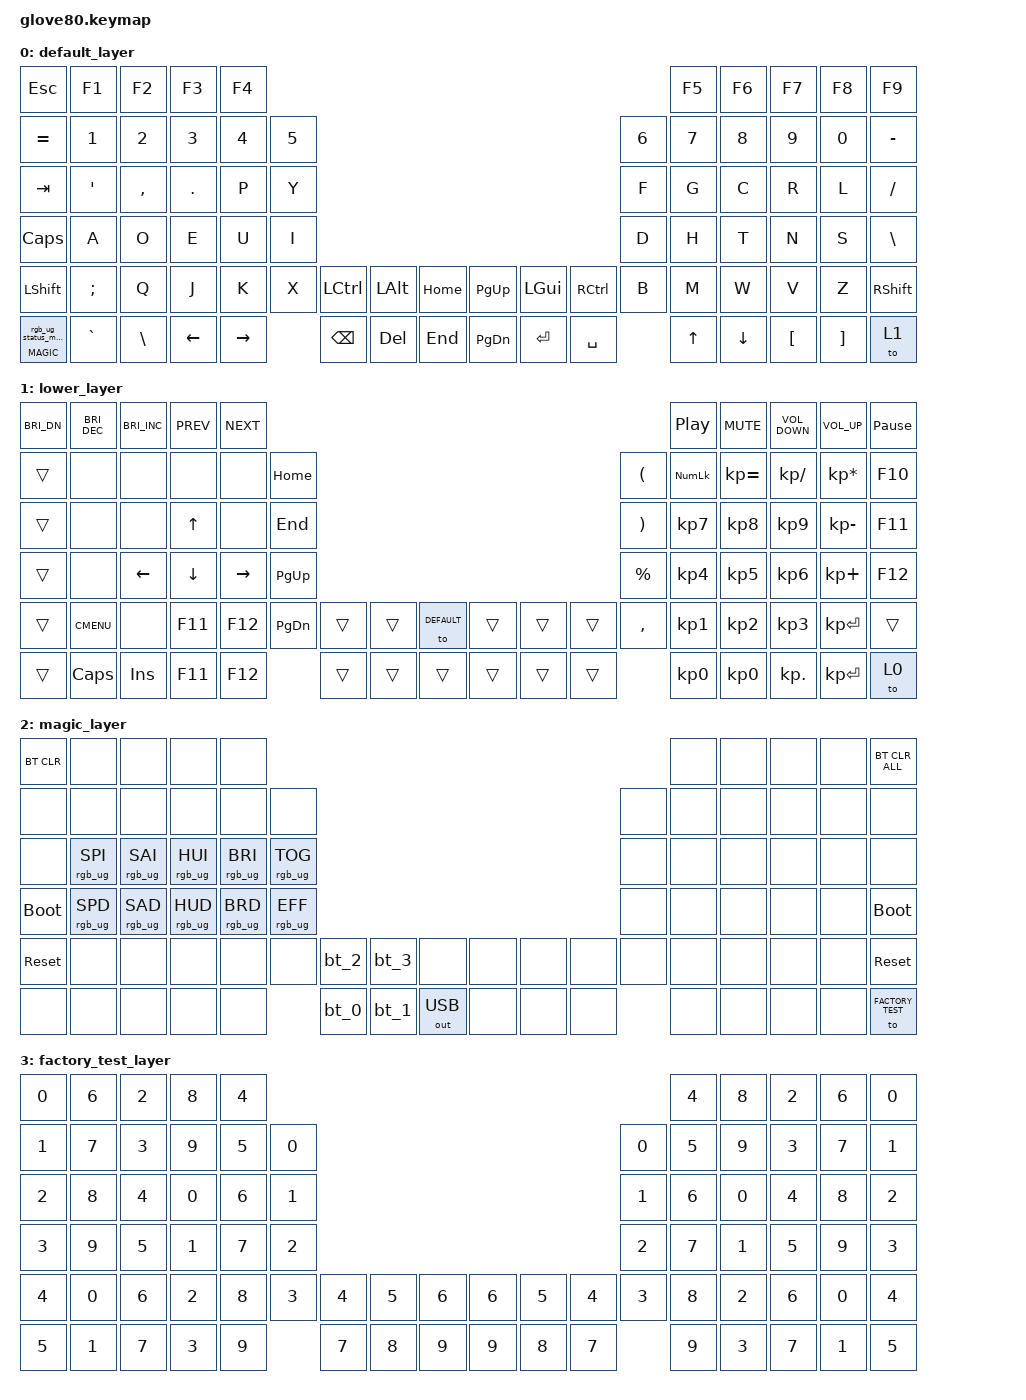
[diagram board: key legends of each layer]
/*
 * Copyright (c) 2020 The ZMK Contributors
 *
 * SPDX-License-Identifier: MIT
 */

#include <behaviors.dtsi>
#include <dt-bindings/zmk/bt.h>
#include <dt-bindings/zmk/keys.h>
#include <dt-bindings/zmk/outputs.h>
#include <dt-bindings/zmk/rgb.h>

#define HYPER LC(LS(LG(LALT)))

// layers

#define DEFAULT 0
#define LOWER 1
#define MAGIC 2
#define FACTORY_TEST 3

/ {
    behaviors {
        // For the "layer" key, it'd nice to be able to use it as either a shift or a toggle.
        // Configure it as a tap dance, so the first tap (or hold) is a &mo and the second tap is a &to

        layer_td: tap_dance_0 {
            compatible = "zmk,behavior-tap-dance";
            label = "LAYER_TAP_DANCE";
            #binding-cells = <0>;
            tapping-term-ms = <200>;
            bindings = <&mo LOWER>, <&to LOWER>;
        };

        magic: magic_hold_tap {
            compatible = "zmk,behavior-hold-tap";
            label = "MAGIC_HOLD_TAP";
            #binding-cells = <2>;
            flavor = "tap-preferred";
            tapping-term-ms = <200>;
            bindings = <&mo>, <&rgb_ug_status_macro>;
        };
    };

    macros {
        rgb_ug_status_macro: rgb_ug_status_macro_0 {
            label = "RGB_UG_STATUS";
            compatible = "zmk,behavior-macro";
            #binding-cells = <0>;
            bindings = <&rgb_ug RGB_STATUS>;
        };

        bt_0: bt_profile_macro_0 {
            label = "BT_0";
            compatible = "zmk,behavior-macro";
            #binding-cells = <0>;
            bindings = <&out OUT_BLE &bt BT_SEL 0>;
        };

        bt_1: bt_profile_macro_1 {
            label = "BT_1";
            compatible = "zmk,behavior-macro";
            #binding-cells = <0>;
            bindings = <&out OUT_BLE &bt BT_SEL 1>;
        };

        bt_2: bt_profile_macro_2 {
            label = "BT_2";
            compatible = "zmk,behavior-macro";
            #binding-cells = <0>;
            bindings = <&out OUT_BLE &bt BT_SEL 2>;
        };

        bt_3: bt_profile_macro_3 {
            label = "BT_3";
            compatible = "zmk,behavior-macro";
            #binding-cells = <0>;
            bindings = <&out OUT_BLE &bt BT_SEL 3>;
        };
    };

    keymap {
        compatible = "zmk,keymap";

        default_layer {
            // ---------------------------------------------------------------------------------------------------------------------------------
            // |  F1   |  F2 |  F3 |  F4  |  F5  |                                                               |  F6   |  F7   |  F8  |   F9  |  F10 |
            // |  =    |  1  |  2  |  3   |  4   |  5   |                                                 |  6   |   7   |   8   |  9   |   0   |   -  |
            // |  TAB  |  Q  |  W  |  E   |  R   |  T   |                                                 |  Y   |   U   |   I   |  O   |   P   |   \  |
            // |  ESC  |  A  |  S  |  D   |  F   |  G   |                                                 |  H   |   J   |   K   |  L   |   ;   |   '  |
            // |   `   |  Z  |  X  |  C   |  V   |  B   | LSHFT | LCTRL | LOWER | | LGUI  | RCTRL | RSHFT |  N   |   M   |   ,   |  .   |   /   | PGUP |
            // | MAGIC | HOME| END | LEFT | RIGHT|      | BSPC  | DEL   | LALT  | | RALT  | RET   | SPACE |      |  UP   | DOWN  |  [   |   ]   | PGDN |

            bindings = <
&kp ESC         &kp F1     &kp F2     &kp F3    &kp F4                                                                                          &kp F5  &kp F6    &kp F7    &kp F8    &kp F9
&kp EQUAL       &kp N1     &kp N2     &kp N3    &kp N4     &kp N5                                                                       &kp N6  &kp N7  &kp N8    &kp N9    &kp N0    &kp MINUS
&kp TAB         &kp APOS   &kp COMMA  &kp DOT   &kp P      &kp Y                                                                        &kp F   &kp G   &kp C     &kp R     &kp L     &kp FSLH
&kp CAPS        &kp A      &kp O      &kp E     &kp U      &kp I                                                                        &kp D   &kp H   &kp T     &kp N     &kp S     &kp BSLH
&kp LSHFT       &kp SEMI   &kp Q      &kp J     &kp K      &kp X   &kp LCTRL  &kp LALT  &kp HOME    &kp PAGE_UP    &kp LGUI  &kp RCTRL  &kp B   &kp M   &kp W     &kp V     &kp Z     &kp RSHFT
&magic MAGIC 0  &kp GRAVE  &kp BSLH   &kp LEFT  &kp RIGHT          &kp BSPC   &kp DEL   &kp END     &kp PAGE_DOWN  &kp RET   &kp SPACE          &kp UP  &kp DOWN  &kp LBKT  &kp RBKT  &to 1
            >;
        };

        lower_layer {
            bindings = <
&kp C_BRI_DN  &kp C_BRIGHTNESS_DEC  &kp C_BRIGHTNESS_INC  &kp C_PREV  &kp C_NEXT                                                                               &kp C_PLAY_PAUSE  &kp C_MUTE    &kp C_VOLUME_DOWN  &kp C_VOLUME_UP  &kp PAUSE_BREAK
&trans        &none                 &none                 &none       &none       &kp HOME                                                          &kp LPAR   &kp KP_NUM        &kp KP_EQUAL  &kp KP_DIVIDE      &kp KP_MULTIPLY  &kp F10
&trans        &none                 &none                 &kp UP      &none       &kp END                                                           &kp RPAR   &kp KP_N7         &kp KP_N8     &kp KP_N9          &kp KP_MINUS     &kp F11
&trans        &none                 &kp LEFT              &kp DOWN    &kp RIGHT   &kp PG_UP                                                         &kp PRCNT  &kp KP_N4         &kp KP_N5     &kp KP_N6          &kp KP_PLUS      &kp F12
&trans        &kp K_CMENU           &none                 &kp F11     &kp F12     &kp PG_DN  &trans  &trans  &to DEFAULT    &trans  &trans  &trans  &kp COMMA  &kp KP_N1         &kp KP_N2     &kp KP_N3          &kp KP_ENTER     &trans
&trans        &kp CAPS              &kp INS               &kp F11     &kp F12                &trans  &trans  &trans         &trans  &trans  &trans             &kp KP_N0         &kp KP_N0     &kp KP_DOT         &kp KP_ENTER     &to 0
            >;
        };

        magic_layer {
            bindings = <
&bt BT_CLR   &none            &none            &none            &none                                                                                       &none  &none  &none  &none  &bt BT_CLR_ALL
&none        &none            &none            &none            &none            &none                                                               &none  &none  &none  &none  &none  &none
&none        &rgb_ug RGB_SPI  &rgb_ug RGB_SAI  &rgb_ug RGB_HUI  &rgb_ug RGB_BRI  &rgb_ug RGB_TOG                                                     &none  &none  &none  &none  &none  &none
&bootloader  &rgb_ug RGB_SPD  &rgb_ug RGB_SAD  &rgb_ug RGB_HUD  &rgb_ug RGB_BRD  &rgb_ug RGB_EFF                                                     &none  &none  &none  &none  &none  &bootloader
&sys_reset   &none            &none            &none            &none            &none            &bt_2  &bt_3  &none           &none  &none  &none  &none  &none  &none  &none  &none  &sys_reset
&none        &none            &none            &none            &none                             &bt_0  &bt_1  &out OUT_USB    &none  &none  &none         &none  &none  &none  &none  &to FACTORY_TEST
            >;
        };

        factory_test_layer {
            bindings = <
&kp N0  &kp N6  &kp N2  &kp N8  &kp N4                                                                    &kp N4  &kp N8  &kp N2  &kp N6  &kp N0
&kp N1  &kp N7  &kp N3  &kp N9  &kp N5  &kp N0                                                    &kp N0  &kp N5  &kp N9  &kp N3  &kp N7  &kp N1
&kp N2  &kp N8  &kp N4  &kp N0  &kp N6  &kp N1                                                    &kp N1  &kp N6  &kp N0  &kp N4  &kp N8  &kp N2
&kp N3  &kp N9  &kp N5  &kp N1  &kp N7  &kp N2                                                    &kp N2  &kp N7  &kp N1  &kp N5  &kp N9  &kp N3
&kp N4  &kp N0  &kp N6  &kp N2  &kp N8  &kp N3  &kp N4  &kp N5  &kp N6    &kp N6  &kp N5  &kp N4  &kp N3  &kp N8  &kp N2  &kp N6  &kp N0  &kp N4
&kp N5  &kp N1  &kp N7  &kp N3  &kp N9          &kp N7  &kp N8  &kp N9    &kp N9  &kp N8  &kp N7          &kp N9  &kp N3  &kp N7  &kp N1  &kp N5
            >;
        };
    };
};

